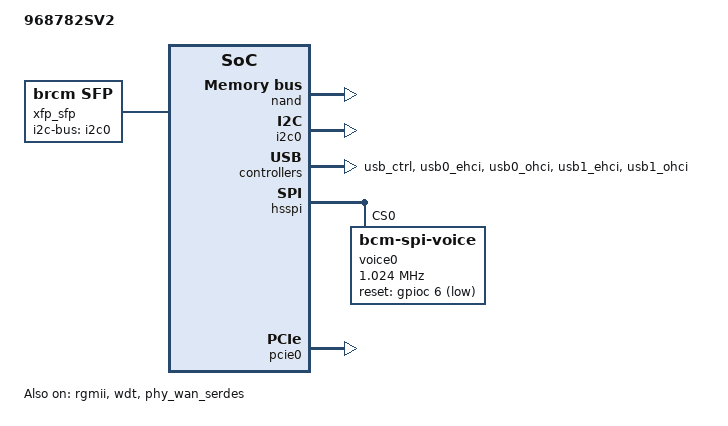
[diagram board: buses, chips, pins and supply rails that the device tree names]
#include "inc/68782.dtsi"
#include "../bcm_voice.dtsi"

/ {
    memory_controller {
        memcfg = <(BP_DDR_SPEED_800_11_11_11  | \
                   BP_DDR_TOTAL_SIZE_512MB    | \
                   BP_DDR_DEVICE_WIDTH_16     | \
                   BP_DDR_TOTAL_WIDTH_16BIT  | \
                   BP_DDR_CONFIG_DEBUG)>;
    };
};

/ {
    model = "968782SV2";

    xfp_sfp: xfp_sfp {
        compatible = "brcm,sfp";
        pinctrl-names = "default", "tx-sd";
        pinctrl-0 = <&pon_lbe_p_pin_61>;
        pinctrl-1 = <&pon_lbe_p_pin_61 &rogue_onu_in_pin_13>;
        i2c-bus = <&i2c0>;
    };

    wan_serdes {
            status = "okay";
            trx = <&xfp_sfp>;
    };

    buttons {
        compatible = "brcm,buttons";
        reset_button {
            ext_irq = <&bca_extintr 60 GPIO_ACTIVE_LOW (BCA_EXTINTR_TYPE_LOW_LEVEL | BCA_EXTINTR_TYPE_SENSE_EDGE)>;
            press {
                print = "Button Press -- Hold for 5s to do restore to default";
   	 };
            hold {
                rst_to_dflt = <5>;
            };
            release {
                reset = <0>;
            };	
        };
    };
};

&rgmii {
        status = "okay";
};

&mdio {
        phy1:1 {
                status = "okay";
        };

        phy2:2 {
                status = "okay";
        };

        phy3:3 {
                status = "okay";
        };

        phy4:4 {
                status = "okay";
        };

        phy_rgmii: rgmii {
                reg = <7>;
                tx-delay;
                status = "okay";
        };
};

&switch0 {
        pinctrl-names = "default", "rgmii";
        pinctrl-0 = <&per_mdc_pin_52 &per_mdio_pin_53 &rgmii_pins>;
        pinctrl-1 = <&rgmii_pins>;

        ports {
                port_gphy0 {
                        network-leds = <&led0 &led1>;
                        status = "okay";
                };

                port_gphy1 {
                        network-leds = <&led2 &led3>;
                        status = "okay";
                };

                port_gphy2 {
                        network-leds = <&led4 &led5>;
                        status = "okay";
                };

                port_gphy3 {
                        network-leds = <&led6 &led7>;
                        status = "okay";
                };

                port_rgmii {
                        mii-pinctrl-state = "rgmii";
                        status = "okay";
                };

                port_wan {
                        status = "okay";
                };
        };
};

&led_ctrl {
    pinctrl-names = "default";
    pinctrl-0 = <&a_ser_led_clk_pin_8 &a_ser_led_data_pin_9 &a_ser_led_mask_pin_7>;
    serial-shifters-installed = <2>;
    led0: port_0-led_0-bit_8 {
              active_low;
              status = "okay";
              link = <LED_SPEED_GBE>;
          };
    led1: port_0-led_1-bit_9 {
              active_low;
              status = "okay";
              activity = <LED_SPEED_GBE>;
          };
    led2: port_1-led_0-bit_10 {
              active_low;
              status = "okay";
              link = <LED_SPEED_GBE>;
          };
    led3: port_1-led_1-bit_11 {
              active_low;
              status = "okay";
              activity = <LED_SPEED_GBE>;
          };
    led4: port_2-led_0-bit_12 {
              active_low;
              status = "okay";
              link = <LED_SPEED_GBE>;
          };
    led5: port_2-led_1-bit_13 {
              active_low;
              status = "okay";
              activity = <LED_SPEED_GBE>;
          };
    led6: port_3-led_0-bit_14 {
              active_low;
              status = "okay";
              link = <LED_SPEED_GBE>;
          };
    led7: port_3-led_1-bit_15 {
               active_low;
               status = "okay";
               activity = <LED_SPEED_GBE>;
          };
};

&nand {
	status = "okay";
};
&wdt {
	status = "okay";
};
&i2c0 {
    pinctrl-names = "default";
    pinctrl-0 = <&i2c_scl_pin_62 &i2c_sda_pin_63>;
	status = "okay";
};
&usb_ctrl {
    pinctrl-names = "default";
    pinctrl-0 = <&usb0_pwr_pins &usb1_pwr_pins>;
	status = "okay";
};
&usb0_ehci {
	status = "okay";
};
&usb0_ohci {
	status = "okay";
};
&usb1_ehci {
	status = "okay";
};
&usb1_ohci {
	status = "okay";
};
&hsspi {
        status = "okay";
        pinctrl-0 = <&spim_group_pins>;
        pinctrl-names = "default";
        voice0 {
            pinctrl-0 = <&spim_ss0_b_pin_59>;
            pinctrl-names = "default";
            compatible = "bcm-spi-voice";
            reg = <0>; /* chip select 0 */
            spi-max-frequency = <1024000>;
            reset-gpio = <&gpioc 6 GPIO_ACTIVE_LOW>;
        };
};

&pcie0 {
	status = "okay";
};

&pincontroller {
    pinctrl-names = "default";
    pinctrl-0 = <&wl_fem_ctrl_0_pin_14 &wl_fem_ctrl_1_pin_15 &a_wl_fem_ctrl_2_pin_16 \
				&wl_fem_ctrl_3_pin_17 &wl_fem_ctrl_4_pin_18 &wl_fem_ctrl_5_pin_19 \
				&wl_fem_ctrl_6_pin_20 &wl_fem_ctrl_7_pin_21	 &a_wl_fem_ctrl_8_pin_22 \
				&wl_fem_ctrl_9_pin_23  &wl_fem_ctrl_10_pin_24 &wl_fem_ctrl_11_pin_25>;
};

&bcm_voice{
	sliclist = SLICSLAC_LIST_COMMON_NOFXO;
 };

&phy_wan_serdes {
    status = "okay";
};
